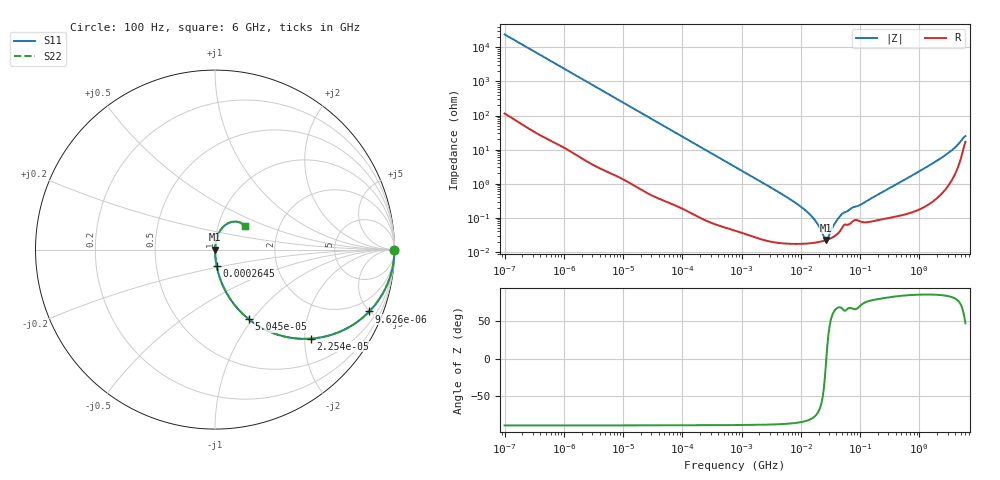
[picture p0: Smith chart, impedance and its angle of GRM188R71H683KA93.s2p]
!Murata Part Number: GRM188R71H683KA93
!These Parameters are Measured in Series Mode Connection
!Data Generated on Mar 30, 2021
!  o--ll--o
!Port1  Port2
!  o------o
!Operation Temp=25[degC], DC Bias Voltage=0[V]
!Freq. Start=100[Hz] Stop=6[GHz] 401[Steps]
# Hz S RI R 50
!Freq.(Hz) S11(Real) S11(Imag) S21(Real) S21(Imag) S12(Real) S12(Imag) S22(Real) S22(Imag)
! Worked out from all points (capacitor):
!   401 points, 100 Hz to 6 GHz, reference 50 ohm
!   read as one part in series: C = 67.2 nF near 109 Hz
!   lowest |Z| = 22.4 mohm at 26.62 MHz (marker M1)
!   series resonance near 26.98 MHz, so ESL is about 520 pH
!   S11 on the Smith chart (normalised r, x): 100 Hz: open; 9.626 kHz: 1.03, -4.98; 22.54 kHz: 1.01, -2.13; 50.45 kHz: 1.01, -0.96; 264.5 kHz: 1.00, -0.18; 6 GHz: 1.34, +0.37
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100  1 -0.00423  3.84e-05 0.00423  3.84e-05 0.00423  1 -0.00423
2008  0.9926 -0.0835  0.00742 0.0835  0.00742 0.0835  0.9926 -0.0835
5143  0.9549 -0.2051  0.0451 0.2051  0.0451 0.2051  0.9549 -0.2051
9626  0.8598 -0.3444  0.1402 0.3444  0.1402 0.3444  0.8598 -0.3444
22537  0.5322 -0.4962  0.4678 0.4962  0.4678 0.4962  0.5322 -0.4962
40335  0.2642 -0.4378  0.7358 0.4378  0.7358 0.4378  0.2642 -0.4378
50455  0.1874 -0.387  0.8126 0.387  0.8126 0.387  0.1874 -0.387
98762  0.0581 -0.2302  0.9419 0.2302  0.9419 0.2302  0.0581 -0.2302
264476  0.00914 -0.0909  0.9909 0.0909  0.9909 0.0909  0.00914 -0.0909
774597  0.00142 -0.0314  0.9986 0.0314  0.9986 0.0314  0.00142 -0.0314
6644369  0.000186 -0.00349  0.9998 0.00349  0.9998 0.00349  0.000186 -0.00349
1.555665e7  0.000184 -0.00106  0.9998 0.00106  0.9998 0.00106  0.000184 -0.00106
1.946e7  0.000195 -0.000609  0.9998 0.000609  0.9998 0.000609  0.000195 -0.000609
2.434276e7  0.000213 -0.000189  0.9998 0.000189  0.9998 0.000189  0.000213 -0.000189
2.662322e7  0.000223 -2.43e-05  0.9998 2.43e-05  0.9998 2.43e-05  0.000223 -2.43e-05
2.911731e7  0.000236 0.000141  0.9998 -0.000141  0.9998 -0.000141  0.000236 0.000141
3.983537e7  0.000318 0.000747  0.9997 -0.000747  0.9997 -0.000747  0.000318 0.000747
4.983056e7  0.000514 0.00121  0.9995 -0.00121  0.9995 -0.00121  0.000514 0.00121
3.124326e8  0.00106 0.00731  0.9989 -0.00731  0.9989 -0.00731  0.00106 0.00731
3.352442e9  0.0182 0.0856  0.9818 -0.0856  0.9818 -0.0856  0.0182 0.0856
4.586474e9  0.0504 0.1312  0.9496 -0.1312  0.9496 -0.1312  0.0504 0.1312
6e9  0.1655 0.1308  0.8345 -0.1308  0.8345 -0.1308  0.1655 0.1308
